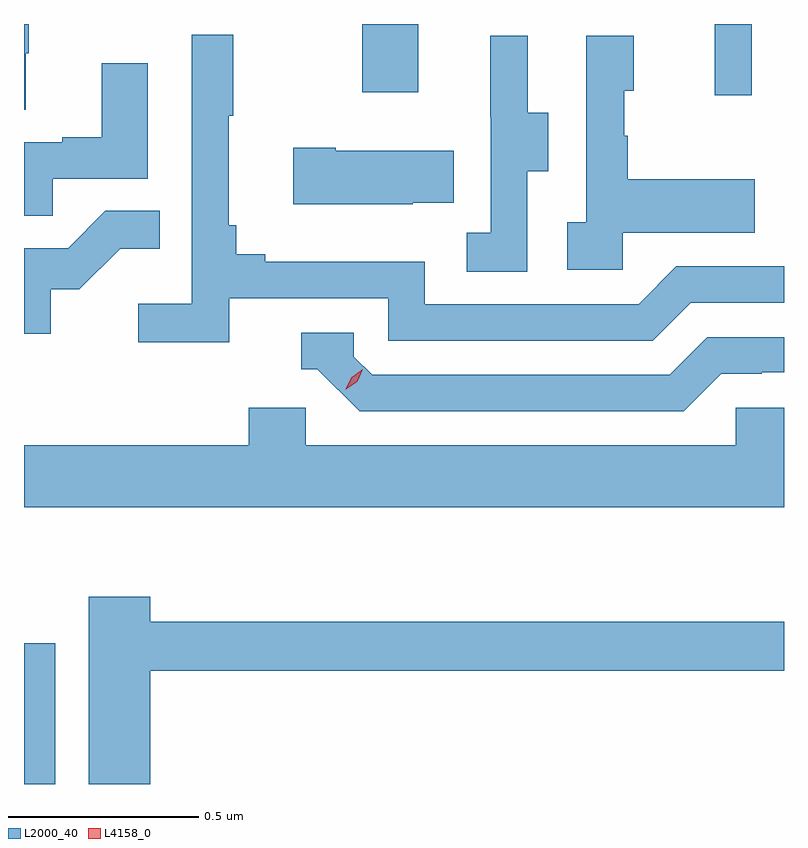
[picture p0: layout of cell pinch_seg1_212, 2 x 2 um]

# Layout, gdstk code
import gdstk
lib = gdstk.Library(unit=1e-6, precision=1e-09)
def R(c, l, rs):  # rectangles x0, y0, x1, y1
    for r in rs: c.add(gdstk.rectangle(r[:2], r[2:], *l))
def P(c, l, *ps):  # polygons
    for p in ps: c.add(gdstk.Polygon(p, *l))
L2000_40 = (2000, 40)
L4158_0 = (4158, 0)

pinch_seg1_212 = lib.new_cell('pinch_seg1_212')
R(pinch_seg1_212, L2000_40, [(998.102,577.644,998.184,578.014), (999.92,579.456,1000.017,579.644), (998.992,579.465,999.139,579.644)])
P(pinch_seg1_212, L2000_40, [(998.107,579.567),(998.115,579.567),(998.115,579.644),(998.102,579.644),(998.102,579.418),(998.107,579.418)],
  [(998.642,578.922),(999.06,578.922),(999.06,578.811),(999.757,578.811),(999.856,578.91),(1000.102,578.91),(1000.102,579.006),(999.819,579.006),(999.72,578.907),(999.156,578.907),(999.156,579.019),(998.737,579.019),(998.737,579.038),(998.66,579.038),(998.66,579.115),(998.641,579.115),(998.641,579.403),(998.653,579.403),(998.653,579.616),(998.544,579.616),(998.544,578.908),(998.403,578.908),(998.403,578.806),(998.642,578.806)],
  [(999.678,579.095),(1000.025,579.095),(1000.025,579.235),(999.691,579.235),(999.691,579.35),(999.681,579.35),(999.681,579.468),(999.706,579.468),(999.706,579.613),(999.582,579.613),(999.582,579.122),(999.531,579.122),(999.531,578.997),(999.678,578.997)],
  [(999.426,579.256),(999.481,579.256),(999.481,579.411),(999.427,579.411),(999.427,579.613),(999.329,579.613),(999.329,579.399),(999.33,579.399),(999.33,579.095),(999.267,579.095),(999.267,578.992),(999.426,578.992)],
  [(998.177,579.237),(998.428,579.237),(998.428,579.541),(998.306,579.541),(998.306,579.346),(998.203,579.346),(998.203,579.333),(998.102,579.333),(998.102,579.139),(998.177,579.139)],
  [(999.125,579.173),(999.233,579.173),(999.233,579.31),(998.923,579.31),(998.923,579.318),(998.811,579.318),(998.811,579.17),(999.125,579.17)],
  [(998.172,578.946),(998.248,578.946),(998.355,579.053),(998.459,579.053),(998.459,579.152),(998.316,579.152),(998.218,579.054),(998.102,579.054),(998.102,578.829),(998.172,578.829)],
  [(999.937,578.724),(1000.044,578.724),(1000.044,578.727),(1000.102,578.727),(1000.102,578.82),(999.9,578.82),(999.801,578.721),(999.018,578.721),(998.97,578.769),(998.97,578.832),(998.831,578.832),(998.831,578.736),(998.874,578.736),(998.985,578.625),(999.838,578.625)],
  [(1000.102,578.634),(999.975,578.634),(999.975,578.536),(998.844,578.536),(998.844,578.634),(998.693,578.634),(998.693,578.536),(998.102,578.536),(998.102,578.372),(1000.102,578.372)],
  [(998.434,577.942),(1000.102,577.942),(1000.102,578.071),(998.434,578.071),(998.434,578.137),(998.273,578.137),(998.273,577.644),(998.434,577.644)])
P(pinch_seg1_212, L4158_0, [(998.948,578.682),(998.948,578.682),(998.964,578.715),(998.994,578.735),(998.994,578.735),(998.994,578.735),(998.979,578.702),(998.948,578.682)])

lib.write_gds('pinch_seg1_212.gds')
